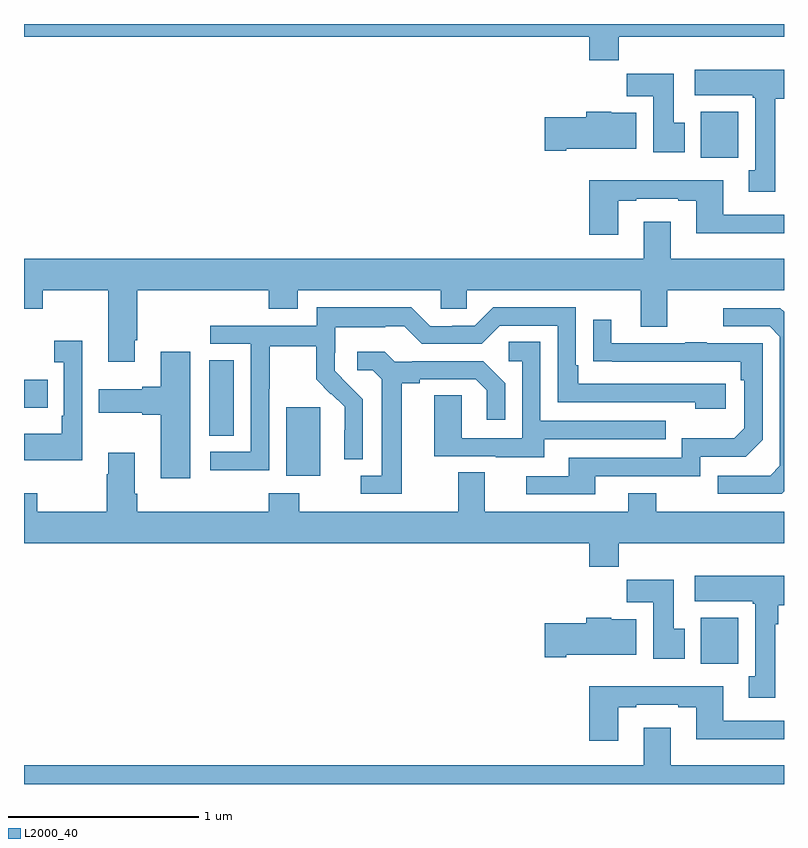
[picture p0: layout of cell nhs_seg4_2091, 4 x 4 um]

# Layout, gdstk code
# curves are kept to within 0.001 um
import gdstk
lib = gdstk.Library(unit=1e-6, precision=1e-09)
def R(c, l, rs):  # rectangles x0, y0, x1, y1
    for r in rs: c.add(gdstk.rectangle(r[:2], r[2:], *l))
def P(c, l, *ps):  # polygons
    for p in ps: c.add(gdstk.Polygon(p, *l))
L2000_40 = (2000, 40)

nhs_seg4_2091 = lib.new_cell('nhs_seg4_2091')
R(nhs_seg4_2091, L2000_40, [(222.563,781.532,222.76,781.774), (220.379,782.522,220.558,782.883), (219.974,782.734,220.105,783.131), (219,782.879,219.125,783.027), (222.563,784.196,222.76,784.438)])
P(nhs_seg4_2091, L2000_40, [(222.131,784.832),(223,784.832),(223,784.9),(219,784.9),(219,784.832),(221.975,784.832),(221.975,784.708),(222.131,784.708)],
  [(222.955,784.506),(223,784.506),(223,784.66),(222.531,784.66),(222.531,784.526),(222.835,784.526),(222.835,784.513),(222.848,784.513),(222.848,784.13),(222.815,784.13),(222.815,784.017),(222.955,784.017)],
  [(222.478,784.38),(222.421,784.38),(222.421,784.639),(222.172,784.639),(222.172,784.52),(222.311,784.52),(222.311,784.224),(222.478,784.224)],
  [(221.854,784.244),(222.223,784.244),(222.223,784.432),(222.09,784.432),(222.09,784.438),(221.96,784.438),(221.96,784.41),(221.742,784.41),(221.742,784.232),(221.854,784.232)],
  [(222.127,783.969),(222.223,783.969),(222.223,783.981),(222.443,783.981),(222.443,783.969),(222.539,783.969),(222.539,783.8),(223,783.8),(223,783.897),(222.679,783.897),(222.679,784.078),(221.975,784.078),(221.975,783.792),(222.127,783.792)],
  [(219.583,783.235),(219.596,783.235),(219.596,783.5),(220.289,783.5),(220.289,783.401),(220.441,783.401),(220.441,783.5),(221.193,783.5),(221.193,783.402),(221.331,783.402),(221.331,783.5),(222.245,783.5),(222.245,783.306),(222.385,783.306),(222.385,783.5),(223,783.5),(223,783.664),(222.403,783.664),(222.403,783.859),(222.263,783.859),(222.263,783.664),(219,783.664),(219,783.401),(219.099,783.401),(219.099,783.5),(219.443,783.5),(219.443,783.123),(219.583,783.123)],
  [(220.29,782.98),(220.293,782.98),(220.293,783.204),(220.537,783.204),(220.537,783.029),(220.614,782.952),(220.617,782.955),(220.688,782.885),(220.688,782.762),(220.686,782.762),(220.686,782.608),(220.782,782.608),(220.782,782.926),(220.636,783.074),(220.636,783.171),(220.638,783.171),(220.638,783.305),(220.901,783.305),(220.901,783.309),(221.001,783.309),(221.094,783.216),(221.409,783.216),(221.505,783.312),(221.808,783.312),(221.808,782.91),(222.533,782.91),(222.533,782.876),(222.694,782.876),(222.694,783.006),(221.917,783.006),(221.917,783.103),(221.904,783.103),(221.904,783.408),(221.469,783.408),(221.373,783.312),(221.255,783.312),(221.255,783.309),(221.139,783.309),(221.039,783.409),(220.542,783.409),(220.542,783.312),(219.981,783.312),(219.981,783.216),(220.194,783.216),(220.194,782.649),(219.981,782.649),(219.981,782.551),(220.29,782.551)],
  [(223,782.44),(223,783.386),(222.981,783.405),(222.681,783.405),(222.681,783.309),(222.924,783.309),(222.978,783.255),(222.978,782.574),(222.927,782.523),(222.651,782.523),(222.651,782.427),(222.987,782.427)],
  [(222.007,782.52),(222.558,782.52),(222.558,782.622),(222.798,782.622),(222.888,782.712),(222.888,783.219),(222.593,783.219),(222.593,783.224),(222.481,783.224),(222.481,783.219),(222.091,783.219),(222.091,783.343),(221.995,783.343),(221.995,783.124),(222.772,783.123),(222.772,783.026),(222.792,783.026),(222.792,782.772),(222.739,782.719),(222.462,782.719),(222.462,782.616),(221.867,782.616),(221.867,782.52),(221.643,782.52),(221.643,782.424),(222.007,782.424)],
  [(219.306,783.232),(219.159,783.232),(219.159,783.119),(219.21,783.119),(219.21,782.839),(219.198,782.839),(219.198,782.743),(219,782.743),(219,782.603),(219.306,782.603)],
  [(221.737,782.715),(222.377,782.715),(222.377,782.811),(221.718,782.811),(221.718,783.227),(221.55,783.227),(221.55,783.126),(221.622,783.126),(221.622,782.721),(221.304,782.721),(221.304,782.945),(221.159,782.945),(221.159,782.625),(221.483,782.625),(221.483,782.621),(221.737,782.621)],
  [(219.874,783.175),(219.719,783.175),(219.719,782.99),(219.623,782.99),(219.623,782.977),(219.393,782.977),(219.393,782.855),(219.623,782.855),(219.623,782.843),(219.719,782.843),(219.719,782.508),(219.874,782.508)],
  [(220.987,783.008),(221.083,783.008),(221.083,783.03),(221.378,783.03),(221.435,782.973),(221.435,782.817),(221.532,782.817),(221.532,783.01),(221.416,783.126),(221.044,783.126),(221.044,783.123),(220.95,783.123),(220.898,783.175),(220.755,783.175),(220.755,783.078),(220.836,783.078),(220.883,783.031),(220.883,782.523),(220.773,782.523),(220.773,782.427),(220.987,782.427)],
  [(222.131,782.168),(223,782.168),(223,782.332),(222.327,782.332),(222.327,782.431),(222.179,782.431),(222.179,782.332),(221.425,782.332),(221.425,782.54),(221.285,782.54),(221.285,782.332),(220.449,782.332),(220.449,782.431),(220.289,782.431),(220.289,782.332),(219.596,782.332),(219.596,782.428),(219.583,782.428),(219.583,782.644),(219.443,782.644),(219.443,782.531),(219.436,782.531),(219.436,782.332),(219.069,782.332),(219.069,782.431),(219,782.431),(219,782.168),(221.975,782.168),(221.975,782.044),(222.131,782.044)],
  [(222.955,781.742),(222.97,781.742),(222.97,781.842),(223,781.842),(223,781.996),(222.531,781.996),(222.531,781.862),(222.835,781.862),(222.835,781.849),(222.848,781.849),(222.848,781.466),(222.815,781.466),(222.815,781.353),(222.955,781.353)],
  [(222.478,781.716),(222.421,781.716),(222.421,781.975),(222.172,781.975),(222.172,781.856),(222.311,781.856),(222.311,781.56),(222.478,781.56)],
  [(221.854,781.58),(222.223,781.58),(222.223,781.768),(222.09,781.768),(222.09,781.774),(221.96,781.774),(221.96,781.746),(221.742,781.746),(221.742,781.568),(221.854,781.568)],
  [(222.127,781.305),(222.223,781.305),(222.223,781.317),(222.443,781.317),(222.443,781.305),(222.539,781.305),(222.539,781.136),(223,781.136),(223,781.233),(222.679,781.233),(222.679,781.414),(221.975,781.414),(221.975,781.128),(222.127,781.128)],
  [(223,781),(222.403,781),(222.403,781.195),(222.263,781.195),(222.263,781),(219,781),(219,780.9),(223,780.9)])

lib.write_gds('nhs_seg4_2091.gds')
